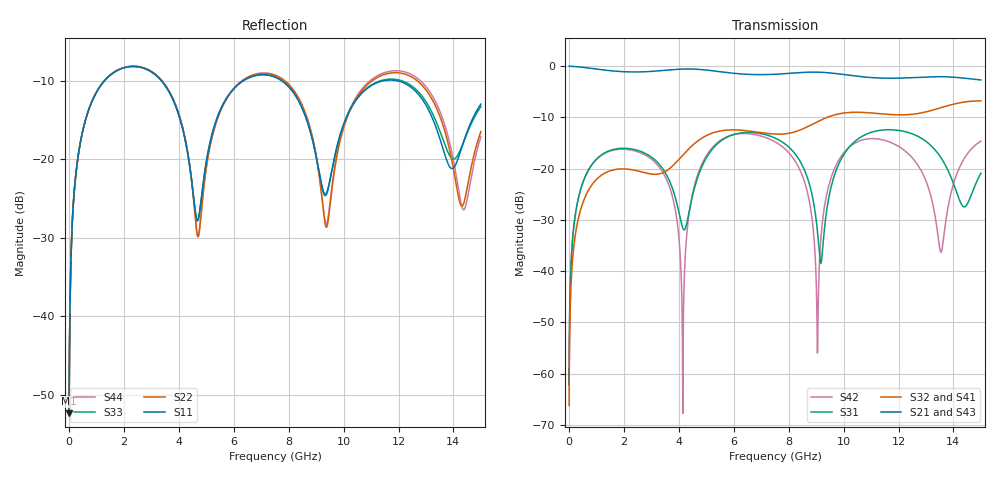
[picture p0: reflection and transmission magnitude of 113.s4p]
! Created with skrf 1.8.0 (http://scikit-rf.org).
# GHz S RI R 50.0
!freq ReS11 ImS11 ReS12 ImS12 ReS13 ImS13
! ReS14 ImS14
! ReS21 ImS21 ReS22 ImS22 ReS23 ImS23
! ReS24 ImS24
! ReS31 ImS31 ReS32 ImS32 ReS33 ImS33
! ReS34 ImS34
! ReS41 ImS41 ReS42 ImS42 ReS43 ImS43
! ReS44 ImS44
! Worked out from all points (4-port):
!   2499 points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, 5 MHz to 15 GHz, reference 50 ohm
!   strongest paths, dB at 5 MHz, 3.476 GHz, 7.19 GHz, 11.1 GHz, 15 GHz:
!     S21: 0.0, -0.8, -1.7, -2.3, -2.7
!     S43: 0.0, -0.8, -1.7, -2.3, -2.7
!     S32: -66.2, -20.7, -13.1, -9.2, -6.8
!     S41: -66.2, -20.7, -13.2, -9.2, -6.8
!     S31: -62.2, -20.5, -13.4, -12.8, -20.9
!     S42: -62.2, -21.3, -14.0, -14.2, -14.6
!   lowest |S11| = -52.4 dB at 5 MHz (marker M1), VSWR 1.00, Z = 50.2 + j0.146 ohm
!   |S11| at or under -10 dB: 3.378 GHz to 6.329 GHz (2.95 GHz wide, 60.8 % of centre); 7.767 GHz to 11.4 GHz (3.63 GHz wide, 37.9 % of centre); 12 GHz to end of sweep (the widest 3 of 4)
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0.005  0.00191 0.00145  0.9981 -0.00372  9.74e-05 0.000771  -9.44e-05 -0.000482
       0.9981 -0.00372  0.00191 0.00145  -9.44e-05 -0.000482  9.73e-05 0.000771
       9.74e-05 0.000771  -9.44e-05 -0.000482  0.00191 0.00145  0.9981 -0.00372
       -9.44e-05 -0.000482  9.73e-05 0.000771  0.9981 -0.00372  0.00191 0.00145
1.419341  0.2891 0.1694  0.5044 -0.7535  0.1384 0.0516  -0.0935 0.00114
          0.5044 -0.7535  0.291 0.168  -0.0935 0.00124  0.1331 0.0596
          0.1384 0.0516  -0.0935 0.00124  0.2891 0.1694  0.5044 -0.7535
          -0.0935 0.00114  0.1331 0.0596  0.5044 -0.7535  0.291 0.1679
4.142273  0.087 -0.13  -0.8395 -0.4118  -0.0225 -0.0138  -0.0559 0.1231
          -0.8395 -0.4118  0.0805 -0.1376  -0.0549 0.1236  0.000484 -0.000225
          -0.0225 -0.0138  -0.0549 0.1236  0.0868 -0.1295  -0.8397 -0.4116
          -0.0559 0.1231  0.000484 -0.000225  -0.8397 -0.4116  0.0802 -0.1371
5.377241  0.1271 0.1277  -0.8161 0.3545  0.1103 0.1319  0.1231 0.1928
          -0.8161 0.3545  0.119 0.1289  0.1247 0.1921  0.117 0.133
          0.1103 0.1319  0.1247 0.1921  0.1271 0.1287  -0.8158 0.3548
          0.1231 0.1928  0.117 0.133  -0.8158 0.3548  0.1201 0.1301
9.04752  0.0719 -0.0623  0.8 0.3492  -0.015 -0.0195  0.1077 -0.2658
         0.8 0.3492  0.0532 -0.0779  0.1032 -0.2677  0.00157 -0.000278
         -0.015 -0.0195  0.1032 -0.2677  0.0712 -0.0624  0.7999 0.3494
         0.1077 -0.2658  0.00157 -0.000278  0.7999 0.3494  0.0545 -0.0775
9.47895  0.0645 0.0293  0.8543 0.09  0.017 0.0524  0.0237 -0.3207
         0.8543 0.09  0.0398 0.0236  0.0186 -0.3213  0.0237 0.067
         0.017 0.0524  0.0186 -0.3213  0.0628 0.03  0.8542 0.0899
         0.0237 -0.3207  0.0237 0.067  0.8542 0.0899  0.0419 0.0251
15  0.1857 0.128  -0.6932 0.2344  0.0814 0.039  0.171 0.4243
    -0.6932 0.2344  0.106 0.1068  0.1843 0.4195  0.1718 0.0691
    0.0814 0.039  0.1843 0.4195  0.1849 0.1145  -0.697 0.2297
    0.171 0.4243  0.1718 0.0691  -0.697 0.2297  0.0994 0.0975
